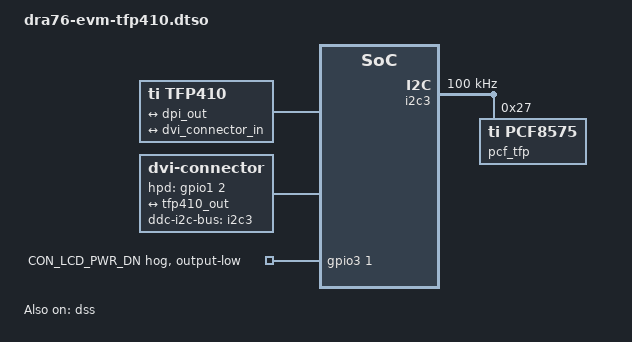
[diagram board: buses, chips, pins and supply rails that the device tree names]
// SPDX-License-Identifier: GPL-2.0
/*
 * Copyright (C) 2019 Texas Instruments Incorporated - http://www.ti.com/
 */

/dts-v1/;
/plugin/;
#include <dt-bindings/gpio/gpio.h>
#include <dt-bindings/interrupt-controller/irq.h>

/ {
  fragment@101 {
	target-path = "/";

	__overlay__ {
		aliases {
			display0 = "/display";
			display1 = "/connector";
		};

		tfp410: encoder@0 {
			compatible = "ti,tfp410";

			ports {
				#address-cells = <1>;
				#size-cells = <0>;

				port@0 {
					reg = <0>;
					tfp410_in: endpoint@0 {
						remote-endpoint = <&dpi_out>;
					};
				};

				port@1 {
					reg = <1>;
	
					tfp410_out: endpoint@0 {
						remote-endpoint = <&dvi_connector_in>;
					};
				};
			};
		};

		dvi0: connector@0 {
			compatible = "dvi-connector";
			label = "dvi";

			digital;

			ddc-i2c-bus = <&i2c3>;

			hpd-gpios = <&gpio1 2 GPIO_ACTIVE_HIGH>;	/* wakeup2/sys_nirq2/gpio1_2 HPD */

			port {
				dvi_connector_in: endpoint {
					remote-endpoint = <&tfp410_out>;
				};
			};
		};
	};
  };
};

&dss {
	status = "ok";
	ports {
		#address-cells = <1>;
		#size-cells = <0>;
		status = "ok";

		port {
			reg = <0>;

			dpi_out: endpoint {
				remote-endpoint = <&tfp410_in>;
				data-lines = <24>;
			};
		};
	};
};

&gpio3 {
	p1 {
		/* GPIO3_1 CON_LCD_PWR_DN */
		/* This affects the TFP410 and the USB */
		gpio-hog;
		gpios = <1 GPIO_ACTIVE_HIGH>;
		output-low;
		line-name = "CON_LCD_PWR_DN";
	};
};

&i2c3 {
	clock-frequency = <100000>;

	pcf_tfp: pcf8757@20 {
		compatible = "ti,pcf8575", "nxp,pcf8575";
		reg = <0x27>;
		gpio-controller;
		#gpio-cells = <2>;

		p2 {
			gpio-hog;
			gpios = <2 GPIO_ACTIVE_HIGH>;
			output-high;
			line-name = "ct_hpd";
		};

		p3 {
			gpio-hog;
			gpios = <3 GPIO_ACTIVE_HIGH>;
			output-high;
			line-name = "ls_oe";
		};
	};
};
